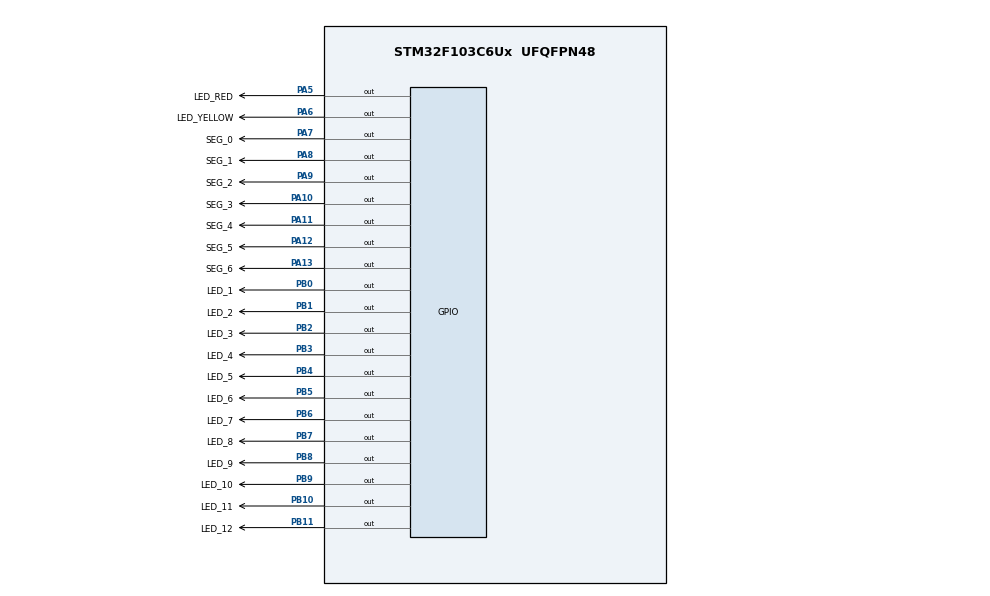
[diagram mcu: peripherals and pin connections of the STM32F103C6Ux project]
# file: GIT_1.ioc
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Mcu.Family=STM32F1
Mcu.Name=STM32F103C6Ux
Mcu.Package=UFQFPN48
NVIC.PriorityGroup=NVIC_PRIORITYGROUP_4
PA10.GPIO_Label=SEG_3
PA10.Signal=GPIO_Output
PA11.GPIO_Label=SEG_4
PA11.Signal=GPIO_Output
PA12.GPIO_Label=SEG_5
PA12.Signal=GPIO_Output
PA13.GPIO_Label=SEG_6
PA13.Signal=GPIO_Output
PA5.GPIO_Label=LED_RED
PA5.Signal=GPIO_Output
PA6.GPIO_Label=LED_YELLOW
PA6.Signal=GPIO_Output
PA7.GPIO_Label=SEG_0
PA7.Signal=GPIO_Output
PA8.GPIO_Label=SEG_1
PA8.Signal=GPIO_Output
PA9.GPIO_Label=SEG_2
PA9.Signal=GPIO_Output
PB0.GPIO_Label=LED_1
PB0.Signal=GPIO_Output
PB1.GPIO_Label=LED_2
PB1.Signal=GPIO_Output
PB10.GPIO_Label=LED_11
PB10.Signal=GPIO_Output
PB11.GPIO_Label=LED_12
PB11.Signal=GPIO_Output
PB2.GPIO_Label=LED_3
PB2.Signal=GPIO_Output
PB3.GPIO_Label=LED_4
PB3.Signal=GPIO_Output
PB4.GPIO_Label=LED_5
PB4.Signal=GPIO_Output
PB5.GPIO_Label=LED_6
PB5.Signal=GPIO_Output
PB6.GPIO_Label=LED_7
PB6.Signal=GPIO_Output
PB7.GPIO_Label=LED_8
PB7.Signal=GPIO_Output
PB8.GPIO_Label=LED_9
PB8.Signal=GPIO_Output
PB9.GPIO_Label=LED_10
PB9.Signal=GPIO_Output
ProjectManager.HeapSize=0x200
ProjectManager.StackSize=0x400
ProjectManager.TargetToolchain=STM32CubeIDE
RCC.APB1Freq_Value=8000000
RCC.APB2Freq_Value=8000000
VP_SYS_VS_ND.Mode=No_Debug
board=custom

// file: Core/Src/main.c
/* USER CODE BEGIN Header */
/**
  ******************************************************************************
  * @file           : main.c
  * @brief          : Main program body
  ******************************************************************************
  * @attention
  *
  * <h2><center>&copy; Copyright (c) 2024 STMicroelectronics.
  * All rights reserved.</center></h2>
  *
  * This software component is licensed by ST under BSD 3-Clause license,
  * the "License"; You may not use this file except in compliance with the
  * License. You may obtain a copy of the License at:
  *                        opensource.org/licenses/BSD-3-Clause
  *
  ******************************************************************************
  */
/* USER CODE END Header */
#include "main.h"

void SystemClock_Config(void);
static void MX_GPIO_Init(void);

int main(void)
{

  /* MCU Configuration--------------------------------------------------------*/

  /* Reset of all peripherals, Initializes the Flash interface and the Systick. */
  HAL_Init();

  /* Configure the system clock */
  SystemClock_Config();

  /* Initialize all configured peripherals */
  MX_GPIO_Init();
  /* USER CODE BEGIN 2 */
  HAL_GPIO_WritePin(GPIOA, GPIO_PIN_All, 1);
  HAL_GPIO_WritePin(GPIOB, GPIO_PIN_All, 0);
  /* USER CODE END 2 */

  /* Infinite loop */
  /* USER CODE BEGIN WHILE */
  int counter = 0;
  int cnt = 9;
  int h = 2;
  int m = 39;
  int s = 55;
  while (1)
  {
//	  //Ex1:
//	  RunningEx1();

//	  //Ex2:
//	  RunningEx2(cnt);
//	  if(cnt <= 0) cnt = 9;
//	  else cnt--;
//	  HAL_Delay(1000);

//	  //Ex3:
//	  RunningEx3(cnt);
//	  if(cnt <= 0) cnt = 9;
//	  else cnt--;
//	  HAL_Delay(1000);

//	  //Ex4:
//	  if(counter >= 10) counter = 0;
//	  display7SEG(counter++);
//	  HAL_Delay(1000);

//	  //Ex5:
//	  RunningEx5(cnt);
//	  display7SEG(cnt);
//	  if(cnt <= 0) cnt = 9;
//	  else cnt--;
//	  HAL_Delay(1000);

//	  //Ex6:
//	  if (counter >= 12) counter = 0;
//	  RunningEx6(counter);
//	  counter++;
//	  HAL_Delay(1000);

//	  //EX7:
//	  RunningEx7();
//	  HAL_Delay(1000);

//	  //Ex8:
//	  if(counter > 12) counter = 0;
//	  setNumberOnClock(counter++);
//	  HAL_Delay(1000);

//	  //Ex9:
//	  if(counter > 12) counter = 0;
//	  clearNumberOnClock(counter++);
//	  HAL_Delay(1000);

	  //Ex10:
	  RunningEx7();
	  if (s >= 60){
		  s = 0;
		  m++;
	  }
	  if (m >= 60){
		  m = 0;
		  h++;
	  }
	  if (h >= 24){
	  	  h = 0;
	  }
	  setNumberOnClock(s/5);
	  setNumberOnClock(m/5);
	  setNumberOnClock(h);
	  s++;
	  HAL_Delay(1000);
    /* USER CODE END WHILE */

  }
}

void SystemClock_Config(void)
{
  RCC_OscInitTypeDef RCC_OscInitStruct = {0};
  RCC_ClkInitTypeDef RCC_ClkInitStruct = {0};

  /** Initializes the RCC Oscillators according to the specified parameters
  * in the RCC_OscInitTypeDef structure.
  */
  RCC_OscInitStruct.OscillatorType = RCC_OSCILLATORTYPE_HSI;
  RCC_OscInitStruct.HSIState = RCC_HSI_ON;
  RCC_OscInitStruct.HSICalibrationValue = RCC_HSICALIBRATION_DEFAULT;
  RCC_OscInitStruct.PLL.PLLState = RCC_PLL_NONE;
  if (HAL_RCC_OscConfig(&RCC_OscInitStruct) != HAL_OK)
  {
    Error_Handler();
  }
  /** Initializes the CPU, AHB and APB buses clocks
  */
  RCC_ClkInitStruct.ClockType = RCC_CLOCKTYPE_HCLK|RCC_CLOCKTYPE_SYSCLK
                              |RCC_CLOCKTYPE_PCLK1|RCC_CLOCKTYPE_PCLK2;
  RCC_ClkInitStruct.SYSCLKSource = RCC_SYSCLKSOURCE_HSI;
  RCC_ClkInitStruct.AHBCLKDivider = RCC_SYSCLK_DIV1;
  RCC_ClkInitStruct.APB1CLKDivider = RCC_HCLK_DIV1;
  RCC_ClkInitStruct.APB2CLKDivider = RCC_HCLK_DIV1;

  if (HAL_RCC_ClockConfig(&RCC_ClkInitStruct, FLASH_LATENCY_0) != HAL_OK)
  {
    Error_Handler();
  }
}

static void MX_GPIO_Init(void)
{
  GPIO_InitTypeDef GPIO_InitStruct = {0};

  /* GPIO Ports Clock Enable */
  __HAL_RCC_GPIOA_CLK_ENABLE();
  __HAL_RCC_GPIOB_CLK_ENABLE();

  /*Configure GPIO pin Output Level */
  HAL_GPIO_WritePin(GPIOA, LED_RED_Pin|LED_YELLOW_Pin|SEG_0_Pin|SEG_1_Pin
                          |SEG_2_Pin|SEG_3_Pin|SEG_4_Pin|SEG_5_Pin
                          |SEG_6_Pin, GPIO_PIN_RESET);

  /*Configure GPIO pin Output Level */
  HAL_GPIO_WritePin(GPIOB, LED_1_Pin|LED_2_Pin|LED_3_Pin|LED_11_Pin
                          |LED_12_Pin|LED_4_Pin|LED_5_Pin|LED_6_Pin
                          |LED_7_Pin|LED_8_Pin|LED_9_Pin|LED_10_Pin, GPIO_PIN_RESET);

  /*Configure GPIO pins : LED_RED_Pin LED_YELLOW_Pin SEG_0_Pin SEG_1_Pin
                           SEG_2_Pin SEG_3_Pin SEG_4_Pin SEG_5_Pin
                           SEG_6_Pin */
  GPIO_InitStruct.Pin = LED_RED_Pin|LED_YELLOW_Pin|SEG_0_Pin|SEG_1_Pin
                          |SEG_2_Pin|SEG_3_Pin|SEG_4_Pin|SEG_5_Pin
                          |SEG_6_Pin;
  GPIO_InitStruct.Mode = GPIO_MODE_OUTPUT_PP;
  GPIO_InitStruct.Pull = GPIO_NOPULL;
  GPIO_InitStruct.Speed = GPIO_SPEED_FREQ_LOW;
  HAL_GPIO_Init(GPIOA, &GPIO_InitStruct);

  /*Configure GPIO pins : LED_1_Pin LED_2_Pin LED_3_Pin LED_11_Pin
                           LED_12_Pin LED_4_Pin LED_5_Pin LED_6_Pin
                           LED_7_Pin LED_8_Pin LED_9_Pin LED_10_Pin */
  GPIO_InitStruct.Pin = LED_1_Pin|LED_2_Pin|LED_3_Pin|LED_11_Pin
                          |LED_12_Pin|LED_4_Pin|LED_5_Pin|LED_6_Pin
                          |LED_7_Pin|LED_8_Pin|LED_9_Pin|LED_10_Pin;
  GPIO_InitStruct.Mode = GPIO_MODE_OUTPUT_PP;
  GPIO_InitStruct.Pull = GPIO_NOPULL;
  GPIO_InitStruct.Speed = GPIO_SPEED_FREQ_LOW;
  HAL_GPIO_Init(GPIOB, &GPIO_InitStruct);

}

void Error_Handler(void)
{
  __disable_irq();
  while (1)
  {
  }
}

/************************ (C) COPYRIGHT STMicroelectronics *****END OF FILE****/
